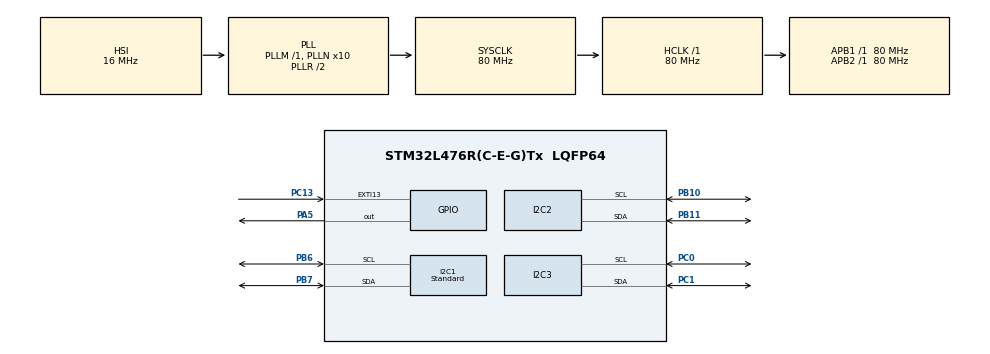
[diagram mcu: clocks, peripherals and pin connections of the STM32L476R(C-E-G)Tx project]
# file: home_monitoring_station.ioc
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I2C1.I2C_Speed_Mode=I2C_Standard
I2C1.Timing=0x10D19CE4
I2C2.Timing=0x10D19CE4
I2C3.Timing=0x10D19CE4
Mcu.Family=STM32L4
Mcu.Name=STM32L476R(C-E-G)Tx
Mcu.Package=LQFP64
NUCLEO-L476RG.BUTTON=1
NUCLEO-L476RG.LD2=true
NVIC.EXTI15_10_IRQn=true\:0\:0\:false\:false\:true\:false\:true\:true
NVIC.PriorityGroup=NVIC_PRIORITYGROUP_4
NVIC.TIM1_UP_TIM16_IRQn=true\:0\:0\:false\:false\:true\:true\:true\:true
NVIC.TIM6_DAC_IRQn=true\:0\:0\:false\:false\:true\:true\:true\:true
NVIC.TIM7_IRQn=true\:0\:0\:false\:false\:true\:true\:true\:true
PA13\ (JTMS-SWDIO).GPIO_Label=TMS
PA13\ (JTMS-SWDIO).Signal=SYS_JTMS-SWDIO
PA14\ (JTCK-SWCLK).GPIO_Label=TCK
PA14\ (JTCK-SWCLK).Signal=SYS_JTCK-SWCLK
PA2.GPIO_Label=USART_TX
PA2.GPIO_Mode=GPIO_MODE_AF_PP
PA2.GPIO_PuPd=GPIO_NOPULL
PA2.GPIO_Speed=GPIO_SPEED_FREQ_VERY_HIGH
PA2.Signal=USART2_TX
PA3.GPIO_Label=USART_RX
PA3.GPIO_Mode=GPIO_MODE_AF_PP
PA3.GPIO_PuPd=GPIO_NOPULL
PA3.GPIO_Speed=GPIO_SPEED_FREQ_VERY_HIGH
PA3.Signal=USART2_RX
PA5.Signal=GPIO_Output
PB10.Mode=I2C
PB10.Signal=I2C2_SCL
PB11.Mode=I2C
PB11.Signal=I2C2_SDA
PB3\ (JTDO-TRACESWO).GPIO_Label=SWO
PB3\ (JTDO-TRACESWO).Signal=SYS_JTDO-SWO
PB6.Mode=I2C
PB6.Signal=I2C1_SCL
PB7.Mode=I2C
PB7.Signal=I2C1_SDA
PC0.Mode=I2C
PC0.Signal=I2C3_SCL
PC1.Mode=I2C
PC1.Signal=I2C3_SDA
PC13.Signal=GPXTI13
PC14-OSC32_IN\ (PC14).Signal=RCC_OSC32_IN
PC15-OSC32_OUT\ (PC15).Signal=RCC_OSC32_OUT
PH0-OSC_IN\ (PH0).Signal=RCC_OSC_IN
PH1-OSC_OUT\ (PH1).Signal=RCC_OSC_OUT
ProjectManager.HeapSize=0x200
ProjectManager.StackSize=0x400
ProjectManager.TargetToolchain=CMake
RCC.ADCFreq_Value=64000000
RCC.AHBFreq_Value=80000000
RCC.APB1Freq_Value=80000000
RCC.APB1TimFreq_Value=80000000
RCC.APB2Freq_Value=80000000
RCC.APB2TimFreq_Value=80000000
RCC.CortexFreq_Value=80000000
RCC.HCLKFreq_Value=80000000
RCC.HSE_VALUE=8000000
RCC.HSI_VALUE=16000000
RCC.LSE_VALUE=32768
RCC.MSI_VALUE=4000000
RCC.PLLN=10
RCC.PLLSourceVirtual=RCC_PLLSOURCE_HSI
RCC.PREFETCH_ENABLE=1
RCC.SYSCLKFreq_VALUE=80000000
RCC.SYSCLKSource=RCC_SYSCLKSOURCE_PLLCLK
RCC.USBFreq_Value=64000000
RCC.VCOOutputFreq_Value=160000000
TIM16.Period=9999
TIM16.Prescaler=7999
TIM6.Period=62499
TIM6.Prescaler=1279
TIM7.Period=49999
TIM7.Prescaler=159
VP_NUCLEO-L476RG_VS_BSP_COMMON.Mode=COMMON
VP_TIM16_VS_ClockSourceINT.Mode=Enable_Timer
VP_TIM6_VS_ClockSourceINT.Mode=Enable_Timer
VP_TIM7_VS_ClockSourceINT.Mode=Enable_Timer
board=NUCLEO-L476RG

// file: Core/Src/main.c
/* USER CODE BEGIN Header */
/**
  ******************************************************************************
  * @file           : main.c
  * @brief          : Main program body
  ******************************************************************************
  * @attention
  *
  * Copyright (c) 2026 STMicroelectronics.
  * All rights reserved.
  *
  * This software is licensed under terms that can be found in the LICENSE file
  * in the root directory of this software component.
  * If no LICENSE file comes with this software, it is provided AS-IS.
  *
  ******************************************************************************
  */
/* USER CODE END Header */
#include "main.h"

/* USER CODE BEGIN Includes */
#include "sh1106.h"
#include "bmp280.h"
#include "htu31.h"
#include "stm32l4xx_hal_tim.h"
#include <stdbool.h>
/* USER CODE END Includes */

I2C_HandleTypeDef hi2c1;
I2C_HandleTypeDef hi2c2;
I2C_HandleTypeDef hi2c3;

TIM_HandleTypeDef htim6;
TIM_HandleTypeDef htim7;
TIM_HandleTypeDef htim16;

/* USER CODE BEGIN PV */
// tim6 -> temp monitoring timer
static volatile bool temp_monitoring_flag = false;
// tim7 -> screen timer
static volatile bool screen_timer_flag = false;
// tim16 -> htu31 reading timer
static volatile bool htu31_reading_flag = false;
/* USER CODE END PV */

void SystemClock_Config(void);
static void MX_GPIO_Init(void);
static void MX_I2C1_Init(void);
static void MX_TIM6_Init(void);
static void MX_TIM7_Init(void);
static void MX_I2C2_Init(void);
static void MX_I2C3_Init(void);
static void MX_TIM16_Init(void);

/* USER CODE BEGIN 0 */
void HAL_TIM_PeriodElapsedCallback(TIM_HandleTypeDef *htim)
{
    if (htim->Instance == TIM6) {
        temp_monitoring_flag = 1;
    } else if (htim->Instance == TIM7) {
        screen_timer_flag = 1;
    } else if (htim->Instance == TIM16) {
        htu31_reading_flag = 1;
    }
}

void UpdateScreen(void)
{
    float pressure_temp = BMP280_GetTemp();
    float pressure = BMP280_GetPressure();

    float ambient_temp = HTU31_GetTemp();
    float humidity = HTU31_GetHumidity();

    SH1106_PrintMeasurements(
        &hi2c1,
        pressure_temp,
        pressure,
        ambient_temp,
        humidity
    );
}
/* USER CODE END 0 */

int main(void)
{

  /* MCU Configuration--------------------------------------------------------*/

  /* Reset of all peripherals, Initializes the Flash interface and the Systick. */
  HAL_Init();

  /* Configure the system clock */
  SystemClock_Config();

  /* Initialize all configured peripherals */
  MX_GPIO_Init();
  MX_I2C1_Init();
  MX_TIM6_Init();
  MX_TIM7_Init();
  MX_I2C2_Init();
  MX_I2C3_Init();
  MX_TIM16_Init();
  /* USER CODE BEGIN 2 */
  if (SH1106_Init(&hi2c1) != HAL_OK) {
    Error_Handler();
  }
  if (BMP280_Init(&hi2c2) != HAL_OK) {
    Error_Handler();
  }
  if (HTU31_Init(&hi2c3) != HAL_OK) {
    Error_Handler();
  }
  if (HAL_TIM_Base_Start_IT(&htim6) != HAL_OK) {
    Error_Handler();
  }
  if (HAL_TIM_Base_Start_IT(&htim7) != HAL_OK) {
    Error_Handler();
  }
  if (HAL_TIM_Base_Start_IT(&htim16) != HAL_OK) {
    Error_Handler();
  }
  /* USER CODE END 2 */

  /* Initialize leds */
  BSP_LED_Init(LED_GREEN);

  /* Initialize USER push-button, will be used to trigger an interrupt each time it's pressed.*/
  BSP_PB_Init(BUTTON_USER, BUTTON_MODE_EXTI);

  /* Infinite loop */
  /* USER CODE BEGIN WHILE */
  while (1)
  {
    if (temp_monitoring_flag) {
      BMP280_ReadMeasurements();
      temp_monitoring_flag = false;
    }
    if (htu31_reading_flag) {
      HTU31_Read();
      htu31_reading_flag = false;
    }
    if (screen_timer_flag) {
      UpdateScreen();
      screen_timer_flag = false;
    }
    /* USER CODE END WHILE */

  }
}

void SystemClock_Config(void)
{
  RCC_OscInitTypeDef RCC_OscInitStruct = {0};
  RCC_ClkInitTypeDef RCC_ClkInitStruct = {0};

  /** Configure the main internal regulator output voltage
  */
  if (HAL_PWREx_ControlVoltageScaling(PWR_REGULATOR_VOLTAGE_SCALE1) != HAL_OK)
  {
    Error_Handler();
  }

  /** Initializes the RCC Oscillators according to the specified parameters
  * in the RCC_OscInitTypeDef structure.
  */
  RCC_OscInitStruct.OscillatorType = RCC_OSCILLATORTYPE_HSI;
  RCC_OscInitStruct.HSIState = RCC_HSI_ON;
  RCC_OscInitStruct.HSICalibrationValue = RCC_HSICALIBRATION_DEFAULT;
  RCC_OscInitStruct.PLL.PLLState = RCC_PLL_ON;
  RCC_OscInitStruct.PLL.PLLSource = RCC_PLLSOURCE_HSI;
  RCC_OscInitStruct.PLL.PLLM = 1;
  RCC_OscInitStruct.PLL.PLLN = 10;
  RCC_OscInitStruct.PLL.PLLP = RCC_PLLP_DIV7;
  RCC_OscInitStruct.PLL.PLLQ = RCC_PLLQ_DIV2;
  RCC_OscInitStruct.PLL.PLLR = RCC_PLLR_DIV2;
  if (HAL_RCC_OscConfig(&RCC_OscInitStruct) != HAL_OK)
  {
    Error_Handler();
  }

  /** Initializes the CPU, AHB and APB buses clocks
  */
  RCC_ClkInitStruct.ClockType = RCC_CLOCKTYPE_HCLK|RCC_CLOCKTYPE_SYSCLK
                              |RCC_CLOCKTYPE_PCLK1|RCC_CLOCKTYPE_PCLK2;
  RCC_ClkInitStruct.SYSCLKSource = RCC_SYSCLKSOURCE_PLLCLK;
  RCC_ClkInitStruct.AHBCLKDivider = RCC_SYSCLK_DIV1;
  RCC_ClkInitStruct.APB1CLKDivider = RCC_HCLK_DIV1;
  RCC_ClkInitStruct.APB2CLKDivider = RCC_HCLK_DIV1;

  if (HAL_RCC_ClockConfig(&RCC_ClkInitStruct, FLASH_LATENCY_4) != HAL_OK)
  {
    Error_Handler();
  }
}

static void MX_I2C1_Init(void)
{

  hi2c1.Instance = I2C1;
  hi2c1.Init.Timing = 0x10D19CE4;
  hi2c1.Init.OwnAddress1 = 0;
  hi2c1.Init.AddressingMode = I2C_ADDRESSINGMODE_7BIT;
  hi2c1.Init.DualAddressMode = I2C_DUALADDRESS_DISABLE;
  hi2c1.Init.OwnAddress2 = 0;
  hi2c1.Init.OwnAddress2Masks = I2C_OA2_NOMASK;
  hi2c1.Init.GeneralCallMode = I2C_GENERALCALL_DISABLE;
  hi2c1.Init.NoStretchMode = I2C_NOSTRETCH_DISABLE;
  if (HAL_I2C_Init(&hi2c1) != HAL_OK)
  {
    Error_Handler();
  }

  /** Configure Analogue filter
  */
  if (HAL_I2CEx_ConfigAnalogFilter(&hi2c1, I2C_ANALOGFILTER_ENABLE) != HAL_OK)
  {
    Error_Handler();
  }

  /** Configure Digital filter
  */
  if (HAL_I2CEx_ConfigDigitalFilter(&hi2c1, 0) != HAL_OK)
  {
    Error_Handler();
  }

}

static void MX_I2C2_Init(void)
{

  hi2c2.Instance = I2C2;
  hi2c2.Init.Timing = 0x10D19CE4;
  hi2c2.Init.OwnAddress1 = 0;
  hi2c2.Init.AddressingMode = I2C_ADDRESSINGMODE_7BIT;
  hi2c2.Init.DualAddressMode = I2C_DUALADDRESS_DISABLE;
  hi2c2.Init.OwnAddress2 = 0;
  hi2c2.Init.OwnAddress2Masks = I2C_OA2_NOMASK;
  hi2c2.Init.GeneralCallMode = I2C_GENERALCALL_DISABLE;
  hi2c2.Init.NoStretchMode = I2C_NOSTRETCH_DISABLE;
  if (HAL_I2C_Init(&hi2c2) != HAL_OK)
  {
    Error_Handler();
  }

  /** Configure Analogue filter
  */
  if (HAL_I2CEx_ConfigAnalogFilter(&hi2c2, I2C_ANALOGFILTER_ENABLE) != HAL_OK)
  {
    Error_Handler();
  }

  /** Configure Digital filter
  */
  if (HAL_I2CEx_ConfigDigitalFilter(&hi2c2, 0) != HAL_OK)
  {
    Error_Handler();
  }

}

static void MX_I2C3_Init(void)
{

  hi2c3.Instance = I2C3;
  hi2c3.Init.Timing = 0x10D19CE4;
  hi2c3.Init.OwnAddress1 = 0;
  hi2c3.Init.AddressingMode = I2C_ADDRESSINGMODE_7BIT;
  hi2c3.Init.DualAddressMode = I2C_DUALADDRESS_DISABLE;
  hi2c3.Init.OwnAddress2 = 0;
  hi2c3.Init.OwnAddress2Masks = I2C_OA2_NOMASK;
  hi2c3.Init.GeneralCallMode = I2C_GENERALCALL_DISABLE;
  hi2c3.Init.NoStretchMode = I2C_NOSTRETCH_DISABLE;
  if (HAL_I2C_Init(&hi2c3) != HAL_OK)
  {
    Error_Handler();
  }

  /** Configure Analogue filter
  */
  if (HAL_I2CEx_ConfigAnalogFilter(&hi2c3, I2C_ANALOGFILTER_ENABLE) != HAL_OK)
  {
    Error_Handler();
  }

  /** Configure Digital filter
  */
  if (HAL_I2CEx_ConfigDigitalFilter(&hi2c3, 0) != HAL_OK)
  {
    Error_Handler();
  }

}

static void MX_TIM6_Init(void)
{

  TIM_MasterConfigTypeDef sMasterConfig = {0};

  htim6.Instance = TIM6;
  htim6.Init.Prescaler = 1279;
  htim6.Init.CounterMode = TIM_COUNTERMODE_UP;
  htim6.Init.Period = 62499;
  htim6.Init.AutoReloadPreload = TIM_AUTORELOAD_PRELOAD_DISABLE;
  if (HAL_TIM_Base_Init(&htim6) != HAL_OK)
  {
    Error_Handler();
  }
  sMasterConfig.MasterOutputTrigger = TIM_TRGO_RESET;
  sMasterConfig.MasterSlaveMode = TIM_MASTERSLAVEMODE_DISABLE;
  if (HAL_TIMEx_MasterConfigSynchronization(&htim6, &sMasterConfig) != HAL_OK)
  {
    Error_Handler();
  }

}

static void MX_TIM7_Init(void)
{

  TIM_MasterConfigTypeDef sMasterConfig = {0};

  htim7.Instance = TIM7;
  htim7.Init.Prescaler = 159;
  htim7.Init.CounterMode = TIM_COUNTERMODE_UP;
  htim7.Init.Period = 49999;
  htim7.Init.AutoReloadPreload = TIM_AUTORELOAD_PRELOAD_DISABLE;
  if (HAL_TIM_Base_Init(&htim7) != HAL_OK)
  {
    Error_Handler();
  }
  sMasterConfig.MasterOutputTrigger = TIM_TRGO_RESET;
  sMasterConfig.MasterSlaveMode = TIM_MASTERSLAVEMODE_DISABLE;
  if (HAL_TIMEx_MasterConfigSynchronization(&htim7, &sMasterConfig) != HAL_OK)
  {
    Error_Handler();
  }

}

static void MX_TIM16_Init(void)
{

  htim16.Instance = TIM16;
  htim16.Init.Prescaler = 7999;
  htim16.Init.CounterMode = TIM_COUNTERMODE_UP;
  htim16.Init.Period = 9999;
  htim16.Init.ClockDivision = TIM_CLOCKDIVISION_DIV1;
  htim16.Init.RepetitionCounter = 0;
  htim16.Init.AutoReloadPreload = TIM_AUTORELOAD_PRELOAD_DISABLE;
  if (HAL_TIM_Base_Init(&htim16) != HAL_OK)
  {
    Error_Handler();
  }

}

static void MX_GPIO_Init(void)
{
  GPIO_InitTypeDef GPIO_InitStruct = {0};

  /* GPIO Ports Clock Enable */
  __HAL_RCC_GPIOC_CLK_ENABLE();
  __HAL_RCC_GPIOH_CLK_ENABLE();
  __HAL_RCC_GPIOA_CLK_ENABLE();
  __HAL_RCC_GPIOB_CLK_ENABLE();

  /*Configure GPIO pins : USART_TX_Pin USART_RX_Pin */
  GPIO_InitStruct.Pin = USART_TX_Pin|USART_RX_Pin;
  GPIO_InitStruct.Mode = GPIO_MODE_AF_PP;
  GPIO_InitStruct.Pull = GPIO_NOPULL;
  GPIO_InitStruct.Speed = GPIO_SPEED_FREQ_VERY_HIGH;
  GPIO_InitStruct.Alternate = GPIO_AF7_USART2;
  HAL_GPIO_Init(GPIOA, &GPIO_InitStruct);

}

void Error_Handler(void)
{
  __disable_irq();
  while (1)
  {
  }
}
